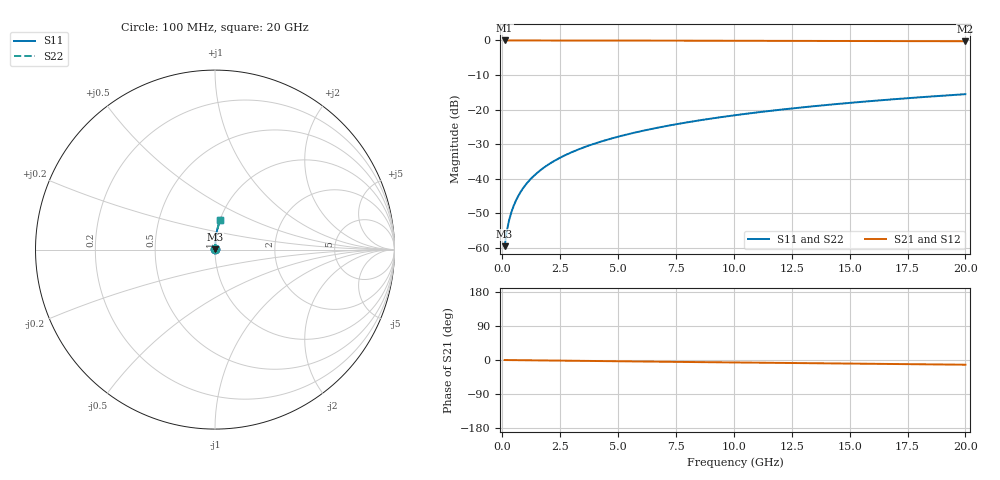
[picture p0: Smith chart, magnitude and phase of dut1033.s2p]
! Touchstone file exported from HFSS 2024.1.0
!  File:  C:/UserFiles/LocalFiles/RDL_TSV_Batchsim/temp_RDL_top_1033_1780043722.aedt
!  Generated:  04:38:25 PM May 29, 2026
!  Design:  RDL_top
!  Project:  temp_RDL_top_1033_1780043722
!  Setup:  Setup1
!  Solution:  Sweep
! Variables:
!  dtsv = 10.80580581um
!  hbump = 3um
!  htsv = 96.64um
!  ldown = 100um
!  lrdl = 112.91um
!  p = 40
!  p1 = 59.9um
!  rhole = 1um
!  t = 450um
!  tdown = 3.915915916um
!  trdl = 4.81um
!  wdown = 15.38538539um
!  wrdl = 16.14um
# GHz S MA R 50.000000
! Terminal data exported
! Port[1] = Box2_T1
! Port[2] = Box2_T2
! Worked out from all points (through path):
!   200 points, 100 MHz to 20 GHz, reference 50 ohm
!   highest |S21| = -0.01 dB at 100 MHz (marker M1); lowest = -0.2 dB at 20 GHz (marker M2)
!   group delay of S21, straight-line fit = 1.72 ps
!   lowest |S11| = -59.5 dB at 100 MHz (marker M3), VSWR 1.00, Z = 50.1 + j0.0834 ohm
!   |S11| at or under -10 dB: start of sweep to end of sweep
!   |S22| runs from -59.5 to -15.5 dB; largest |S21 - S12| = 6.3e-15
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0.1  0.001057 51.9  0.9993 -0.1  0.9993 -0.1  0.001057 51.9
! Gamma 0 0 0 0
! Port Impedance 50 0 50 0
0.2  0.001785 67.8  0.9993 -0.1  0.9993 -0.1  0.001785 67.8
0.3  0.002558 74.2  0.9993 -0.2  0.9993 -0.2  0.002558 74.2
0.4  0.003341 77.7  0.9993 -0.3  0.9993 -0.3  0.003341 77.7
0.5  0.004128 79.8  0.9992 -0.3  0.9992 -0.3  0.004128 79.8
0.7  0.00571 82.5  0.9992 -0.5  0.9992 -0.5  0.00571 82.5
0.8  0.006504 83.3  0.9992 -0.5  0.9992 -0.5  0.006504 83.3
1  0.008098 84.5  0.9991 -0.7  0.9991 -0.7  0.008098 84.5
1.2  0.009695 85.3  0.999 -0.8  0.999 -0.8  0.009695 85.3
1.4  0.0113 85.8  0.9989 -1.0  0.9989 -1.0  0.0113 85.8
1.7  0.0137 86.4  0.9988 -1.2  0.9988 -1.2  0.0137 86.4
2  0.01611 86.8  0.9986 -1.4  0.9986 -1.4  0.01611 86.8
2.7  0.02176 87.3  0.9981 -1.8  0.9981 -1.8  0.02176 87.3
3.5  0.02824 87.5  0.9974 -2.4  0.9974 -2.4  0.02824 87.5
4.2  0.03394 87.5  0.9967 -2.8  0.9967 -2.8  0.03394 87.5
5  0.0405 87.5  0.9958 -3.3  0.9958 -3.3  0.0405 87.5
6.8  0.05543 87.0  0.9936 -4.5  0.9936 -4.5  0.05543 87.0
8.3  0.06804 86.4  0.9916 -5.4  0.9916 -5.4  0.06804 86.4
10.1  0.0833 85.6  0.9892 -6.5  0.9892 -6.5  0.0833 85.6
13.4  0.1114 83.7  0.9844 -8.5  0.9844 -8.5  0.1114 83.7
16.7  0.1394 81.7  0.9793 -10.5  0.9793 -10.5  0.1394 81.7
20  0.1669 79.6  0.9738 -12.4  0.9738 -12.4  0.1669 79.6
